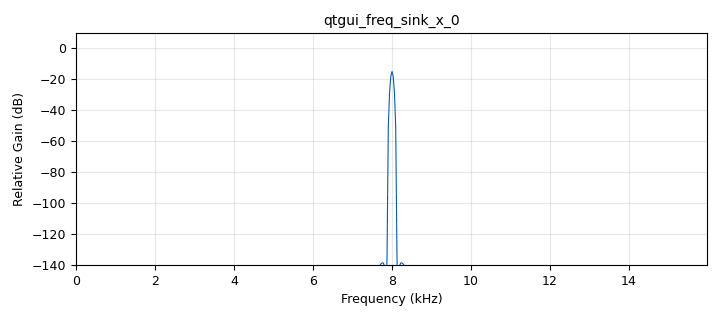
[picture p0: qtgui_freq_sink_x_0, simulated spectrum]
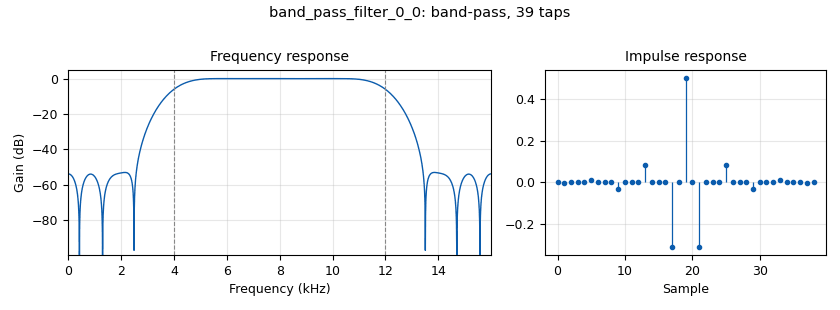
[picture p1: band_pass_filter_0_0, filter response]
options:
  parameters:
    author: jtear
    generate_options: qt_gui
    id: low_pass_filter_demo
    output_language: python
    title: Bandpass Filter
  states: {}

blocks:
- name: Frequency
  id: variable_qtgui_range
  parameters:
    start: '0'
    step: '50'
    stop: '16000'
    value: '8000'
  states: {}
- name: samp_rate
  id: variable
  parameters:
    value: '32000'
  states: {}
- name: analog_sig_source_x_0
  id: analog_sig_source_x
  parameters:
    amp: '1'
    freq: Frequency
    offset: '0'
    phase: '0'
    samp_rate: samp_rate
    type: float
    waveform: analog.GR_COS_WAVE
  states: {}
- name: band_pass_filter_0_0
  id: band_pass_filter
  parameters:
    gain: '1'
    high_cutoff_freq: '12000'
    interp: '1'
    low_cutoff_freq: '4000'
    samp_rate: samp_rate
    type: interp_fir_filter_fff
    width: '2000'
    win: window.WIN_HAMMING
  states: {}
- name: blocks_throttle2_0
  id: blocks_throttle2
  parameters:
    samples_per_second: samp_rate
    type: float
  states: {}
- name: qtgui_freq_sink_x_0
  id: qtgui_freq_sink_x
  parameters:
    alpha1: '0'
    bw: samp_rate
    ctrlpanel: 'True'
    fc: '0'
    fftsize: '1024'
    freqhalf: 'False'
    type: float
  states: {}

connections:
- [analog_sig_source_x_0, '0', band_pass_filter_0_0, '0']
- [band_pass_filter_0_0, '0', blocks_throttle2_0, '0']
- [blocks_throttle2_0, '0', qtgui_freq_sink_x_0, '0']

metadata:
  file_format: 1
  grc_version: 3.10.9.2
